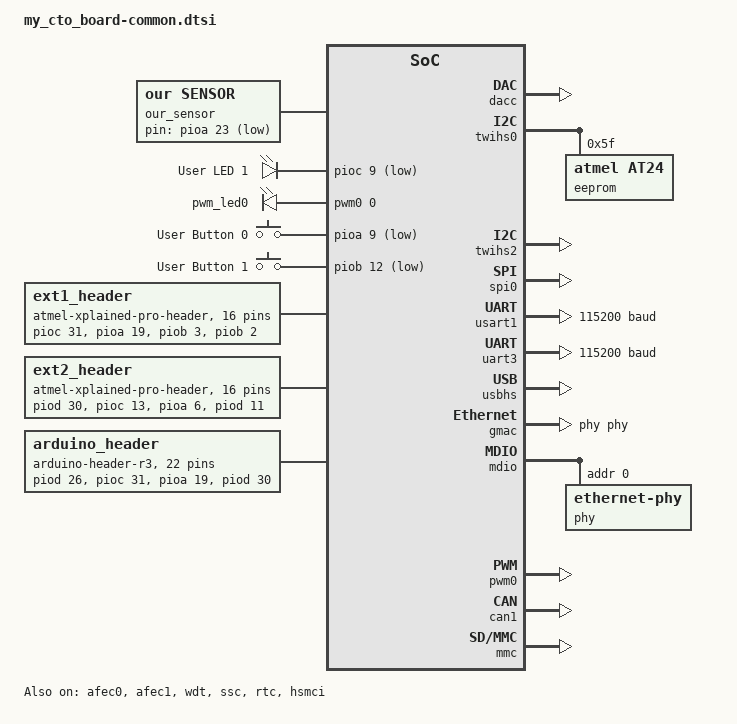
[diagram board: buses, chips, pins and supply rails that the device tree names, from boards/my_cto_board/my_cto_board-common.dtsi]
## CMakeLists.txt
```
cmake_minimum_required(VERSION 3.20.0)

list(APPEND BOARD_ROOT ${CMAKE_CURRENT_SOURCE_DIR})

find_package(Zephyr REQUIRED)
project(my_zephyr_app)
target_sources(app PRIVATE src/main.cpp)
add_subdirectory(drivers/subsys/our_driver)
```

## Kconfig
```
# Quedan replegadas todas las configuraciones de zepyr, mas prolijo
menu "Zephyr system"
source "$(APP_DIR)/drivers/subsys/our_driver/Kconfig"
source "Kconfig.zephyr"    
endmenu
```

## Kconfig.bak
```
source "$(APP_DIR)/drivers/subsys/our_driver/Kconfig"
```

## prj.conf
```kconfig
CONFIG_GPIO=y
CONFIG_OUR_SENSOR=y
CONFIG_SHELL=y
#CONFIG_SHELL_MINIMAL=y
```

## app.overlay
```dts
/{ /* Raiz que luego se agrega al archivo general /build/zephyr/zephyr.dts */
    aliases {
        app-led = &poncholed;
    };
    luces: led {
		compatible = "gpio-leds"; 
		poncholed: green_led {
            gpios = < &gpio0 21 GPIO_ACTIVE_HIGH >;  // LED en poncho
			// gpios = < &gpio0 25 GPIO_ACTIVE_HIGH >;  // LED on board: decimal 25
			label = "SPI_ERR_LED";               
		};
	};
};
	
```

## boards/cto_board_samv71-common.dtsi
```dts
/*
 * Copyright (c) 2017 Piotr Mienkowski
 * Copyright (c) 2017 Justin Watson
 * Copyright (c) 2020 Stephanos Ioannidis <root@stephanos.io>
 * Copyright (c) 2019-2024 Gerson Fernando Budke <nandojve@gmail.com>
 *
 * SPDX-License-Identifier: Apache-2.0
 */

#include "cto_board_samv71-pinctrl.dtsi"
#include <zephyr/dt-bindings/gpio/arduino-header-r3.h>
#include <zephyr/dt-bindings/input/input-event-codes.h>

/ {
	aliases {
		i2c-0 = &twihs0;
		i2c-1 = &twihs2;
		led0 = &yellow_led1;
		pwm-led0 = &pwm_led0;
		pwm-0 = &pwm0;
		rtc = &rtc;
		sw0 = &sw0_user_button;
		sw1 = &sw1_user_button;
		watchdog0 = &wdt;
		sdhc0 = &hsmci;
	};

	chosen {
		zephyr,console = &usart1;
		zephyr,shell-uart = &usart1;
		zephyr,sram = &sram0;
		zephyr,flash = &flash0;
		zephyr,code-partition = &slot0_partition;
		zephyr,canbus = &can1;
	};

	leds {
		compatible = "gpio-leds";

		yellow_led0: led_0 {
			gpios = <&pioa 23 GPIO_ACTIVE_LOW>;
			label = "User LED 0";
			status = "disabled";
		};

		yellow_led1: led_1 {
			gpios = <&pioc 9 GPIO_ACTIVE_LOW>;
			label = "User LED 1";
		};
	};

	pwmleds {
		compatible = "pwm-leds";

		pwm_led0: pwm_led_0 {
			pwms = <&pwm0 0 PWM_MSEC(20) PWM_POLARITY_INVERTED>;
		};
	};

	gpio_keys {
		compatible = "gpio-keys";

		/* The switch is labeled SW300/301 in the schematic, and
		 * labeled SW0 on the board, and labeled ERASE User Button
		 * on docs
		 */
		sw0_user_button: button_1 {
			label = "User Button 0";
			gpios = <&pioa 9 (GPIO_PULL_UP | GPIO_ACTIVE_LOW)>;
			zephyr,code = <INPUT_KEY_0>;
		};

		sw1_user_button: button_2 {
			label = "User Button 1";
			gpios = <&piob 12 (GPIO_PULL_UP | GPIO_ACTIVE_LOW)>;
			zephyr,code = <INPUT_KEY_1>;
		};
	};

	ext1_header: xplained-pro-connector1 {
		compatible = "atmel-xplained-pro-header";
		#gpio-cells = <2>;
		gpio-map-mask = <0xffffffff 0xffffffc0>;
		gpio-map-pass-thru = <0 0x3f>;

		/* dts-format off */
					      /*           Shared */
		gpio-map = <0  0 &pioc 31 0>, /* AFE1 AD6         */
			   <1  0 &pioa 19 0>, /* AFE0 AD8         */
			   <2  0 &piob  3 0>, /* RTS0             */
			   <3  0 &piob  2 0>, /* CTS0             */
			   <4  0 &pioa  0 0>, /* PWMC0_H0         */
			   <5  0 &pioc 30 0>, /* TIOB5            */
			   <6  0 &piod 28 0>, /* WKUP5            */
			   <7  0 &pioa  5 0>, /* GPIO             */
			   <8  0 &pioa  3 0>, /* TWD0        EXT2 */
			   <9  0 &pioa  4 0>, /* TWCK0       EXT2 */
			   <10 0 &piob  0 0>, /* RXD0             */
			   <11 0 &piob  1 0>, /* TXD0             */
			   <12 0 &piod 25 0>, /* SPI0(NPCS1)      */
			   <13 0 &piod 21 0>, /* SPI0(MOSI)  EXT2 */
			   <14 0 &piod 20 0>, /* SPI0(MISO)  EXT2 */
			   <15 0 &piod 22 0>; /* SPI0(SCK)   EXT2 */
					      /* GND              */
					      /* +3.3V            */
		/* dts-format on */
	};

	ext2_header: xplained-pro-connector2 {
		compatible = "atmel-xplained-pro-header";
		#gpio-cells = <2>;
		gpio-map-mask = <0xffffffff 0xffffffc0>;
		gpio-map-pass-thru = <0 0x3f>;

		/* dts-format off */
					      /*           Shared */
		gpio-map = <0  0 &piod 30 0>, /* AFE0 AD0         */
			   <1  0 &pioc 13 0>, /* AFE1 AD1         */
			   <2  0 &pioa  6 0>, /* GPIO             */
			   <3  0 &piod 11 0>, /* GPIO             */
			   <4  0 &pioc 19 0>, /* PWMC0_H2         */
			   <5  0 &piod 26 0>, /* PWMC0_L2         */
			   <6  0 &pioa  2 0>, /* WKUP2            */
			   <7  0 &pioa 24 0>, /* GPIO             */
			   <8  0 &pioa  3 0>, /* TWD0        EXT1 */
			   <9  0 &pioa  4 0>, /* TWCK0       EXT1 */
			   <10 0 &pioa 21 0>, /* RXD1             */
			   <11 0 &piob  4 0>, /* TXD1             */
			   <12 0 &piod 27 0>, /* SPI0(NPCS3)      */
			   <13 0 &piod 21 0>, /* SPI0(MOSI)  EXT1 */
			   <14 0 &piod 20 0>, /* SPI0(MISO)  EXT1 */
			   <15 0 &piod 22 0>; /* SPI0(SCK)   EXT1 */
					      /* GND              */
					      /* +3.3V            */
		/* dts-format on */
	};

	arduino_header: connector {
		compatible = "arduino-header-r3";
		#gpio-cells = <2>;
		gpio-map-mask = <0xffffffff 0xffffffc0>;
		gpio-map-pass-thru = <0 0x3f>;

		/* dts-format off */
								 /*        Shared */
		gpio-map = <ARDUINO_HEADER_R3_A0  0 &piod 26 0>, /* TD            */
			   <ARDUINO_HEADER_R3_A1  0 &pioc 31 0>, /* AFE1 AD6    y */
			   <ARDUINO_HEADER_R3_A2  0 &pioa 19 0>, /* AFE0 AD8    y */
			   <ARDUINO_HEADER_R3_A3  0 &piod 30 0>, /* AFE0 AD0    y */
			   <ARDUINO_HEADER_R3_A4  0 &pioc 13 0>, /* AFE1 AD1    y */
			   <ARDUINO_HEADER_R3_A5  0 &pioe  0 0>, /* AFE1 AD11     */
			   <ARDUINO_HEADER_R3_D0  0 &piod 28 0>, /* URXD3         */
			   <ARDUINO_HEADER_R3_D1  0 &piod 30 0>, /* UTXD3         */
			   <ARDUINO_HEADER_R3_D2  0 &pioa  0 0>, /* PWMC0_H0      */
			   <ARDUINO_HEADER_R3_D3  0 &pioa  6 0>, /* GPIO          */
			   <ARDUINO_HEADER_R3_D4  0 &piod 27 0>, /* SPI0_NPCS3  y */
			   <ARDUINO_HEADER_R3_D5  0 &piod 11 0>, /* PWMC0_H0      */
			   <ARDUINO_HEADER_R3_D6  0 &pioc 19 0>, /* PWMC0_H2      */
			   <ARDUINO_HEADER_R3_D7  0 &pioa  2 0>, /* PWMC0_H1      */
			   <ARDUINO_HEADER_R3_D8  0 &pioa  5 0>, /* PWMC1_PWML3   */
			   <ARDUINO_HEADER_R3_D9  0 &pioc  9 0>, /* TIOB7         */
			   <ARDUINO_HEADER_R3_D10 0 &piod 25 0>, /* SPI0_NPCS1  y */
			   <ARDUINO_HEADER_R3_D11 0 &piod 21 0>, /* SPI0_MOSI   y */
			   <ARDUINO_HEADER_R3_D12 0 &piod 20 0>, /* SPI0_MISO   y */
			   <ARDUINO_HEADER_R3_D13 0 &piod 22 0>, /* SPI0_SPCK   y */
			   <ARDUINO_HEADER_R3_D14 0 &pioa  3 0>, /* TWD0        y */
			   <ARDUINO_HEADER_R3_D15 0 &pioa  4 0>; /* TWCK0       y */
		/* dts-format on */
	};
};

&cpu0 {
	clock-frequency = <300000000>;
};

&afec0 {
	status = "okay";

	pinctrl-0 = <&afec0_default>;
	pinctrl-names = "default";
};

&afec1 {
	status = "okay";

	pinctrl-0 = <&afec1_default>;
	pinctrl-names = "default";
};

&dacc {
	status = "okay";
};

&twihs0 {
	status = "okay";

	pinctrl-0 = <&twihs0_default>;
	pinctrl-names = "default";

	eeprom: eeprom@5f {
		compatible = "atmel,at24", "atmel,24mac402";
		reg = <0x5f>;
		size = <256>;
		pagesize = <16>;
		address-width = <8>;
		timeout = <5>;

		nvmem-layout {
			compatible = "fixed-layout";
			#address-cells = <1>;
			#size-cells = <1>;

			mac_address: mac-address@9a {
				reg = <0x9a 6>;
				#nvmem-cell-cells = <0>;
			};
		};
	};
};

&twihs2 {
	status = "okay";

	pinctrl-0 = <&twihs2_default>;
	pinctrl-names = "default";
};

&spi0 {
	status = "okay";

	pinctrl-0 = <&spi0_default>;
	pinctrl-names = "default";

	cs-gpios = <&piod 25 GPIO_ACTIVE_LOW>,
		   <&piod 27 GPIO_ACTIVE_LOW>;

	dmas = <&xdmac 1 DMA_PERID_SPI0_TX>, <&xdmac 2 DMA_PERID_SPI0_RX>;
	dma-names = "tx", "rx";
};

&usart1 {
	status = "okay";
	current-speed = <115200>;

	pinctrl-0 = <&usart1_default>;
	pinctrl-names = "default";
};

&uart3 {
	status = "okay";
	current-speed = <115200>;

	pinctrl-0 = <&uart3_default>;
	pinctrl-names = "default";
};

&wdt {
	status = "okay";
};

zephyr_udc0: &usbhs {
	status = "okay";
};

&gmac {
	status = "okay";

	pinctrl-0 = <&gmac_rmii>;
	pinctrl-names = "default";

	nvmem-cells = <&mac_address>;
	nvmem-cell-names = "mac-address";
	phy-handle = <&phy>;
};

&mdio {
	status = "okay";

	pinctrl-0 = <&mdio_default>;
	pinctrl-names = "default";

	phy: ethernet-phy@0 {
		compatible = "ethernet-phy";
		status = "okay";
		reg = <0>;
	};
};

&pwm0 {
	status = "okay";

	pinctrl-0 = <&pwm_default>;
	pinctrl-names = "default";
};

&pioa {
	status = "okay";
};

&piob {
	status = "okay";
};

&pioc {
	status = "okay";
};

&piod {
	status = "okay";
};

&pioe {
	status = "okay";
};

&flash0 {
	partitions {
		compatible = "fixed-partitions";
		#address-cells = <1>;
		#size-cells = <1>;

		/*
		 * The first half of sector 0 (64 kbytes)
		 * is reserved for the bootloader
		 */
		boot_partition: partition@0 {
			label = "mcuboot";
			reg = <0x0 0x00010000>;
			read-only;
		};

		/* From sector 1 to sector 7 (included): slot0 (896 kbytes) */
		slot0_partition: partition@20000 {
			label = "image-0";
			reg = <0x00020000 0x000e0000>;
		};

		/* From sector 8 to sector 14 (included): slot1 (896 kbytes) */
		slot1_partition: partition@100000 {
			label = "image-1";
			reg = <0x00100000 0x000e0000>;
		};

		/* Sector 15: scratch (128 kbytes) */
		scratch_partition: partition@1e0000 {
			label = "image-scratch";
			reg = <0x001e0000 0x00020000>;
		};
	};
};

&ssc {
	status = "okay";

	pinctrl-0 = <&ssc_default>;
	pinctrl-names = "default";

	dma-names = "rx", "tx";
	dmas = <&xdmac 22 DMA_PERID_SSC_RX>, <&xdmac 23 DMA_PERID_SSC_TX>;
};

&can1 {
	status = "okay";

	pinctrl-0 = <&can1_default>;
	pinctrl-names = "default";

	can-transceiver {
		max-bitrate = <5000000>;
	};
};

&rtc {
	status = "okay";
};

&hsmci {
	status = "okay";

	pinctrl-names = "default";
	pinctrl-0 = <&hsmci_default>;
	cd-gpios = <&piod 18 GPIO_ACTIVE_LOW>;

	mmc {
		compatible = "zephyr,sdmmc-disk";
		disk-name = "SD";
		status = "okay";
	};
};

ext1_spi: &spi0 {};

ext1_i2c: &twihs0 {};

ext1_serial: &usart0 {};

ext2_spi: &spi0 {};

ext2_i2c: &twihs0 {};

ext2_serial: &usart1 {};

arduino_spi: &spi0 {};

arduino_i2c: &twihs0 {};

arduino_serial: &uart3 {};
```

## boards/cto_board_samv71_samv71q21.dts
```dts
/*
 * Copyright (c) 2017 Piotr Mienkowski
 * Copyright (c) 2017 Justin Watson
 * Copyright (c) 2020-2024 Gerson Fernando Budke <nandojve@gmail.com>
 *
 * SPDX-License-Identifier: Apache-2.0
 */

/dts-v1/;

#include <atmel/samv71x21.dtsi>
#include "cto_board_samv71-common.dtsi"

/ {
	model = "Atmel SAM V71 Xplained Ultra board";
	compatible = "nasa,cto_board_samv71", "atmel,sam_v71_xult", "atmel,samv71q21", "atmel,samv71";
};
```

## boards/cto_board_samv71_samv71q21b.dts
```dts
/*
 * Copyright (c) 2020 Stephanos Ioannidis <root@stephanos.io>
 * Copyright (c) 2020-2024 Gerson Fernando Budke <nandojve@gmail.com>
 *
 * SPDX-License-Identifier: Apache-2.0
 */

/dts-v1/;

#include <atmel/samv71x21b.dtsi>
#include "cto_board_samv71-common.dtsi"

/ {
	model = "Atmel SAM V71B Xplained Ultra board";
	compatible = "nasa,cto_board_samv71", "atmel,sam_v71_xult", "atmel,samv71q21b", "atmel,samv71b";
};
```

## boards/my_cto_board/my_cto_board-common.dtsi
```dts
/*
 * Copyright (c) 2017 Piotr Mienkowski
 * Copyright (c) 2017 Justin Watson
 * Copyright (c) 2020 Stephanos Ioannidis <root@stephanos.io>
 * Copyright (c) 2019-2024 Gerson Fernando Budke <nandojve@gmail.com>
 *
 * SPDX-License-Identifier: Apache-2.0
 */

#include "my_cto_board-pinctrl.dtsi"
#include <zephyr/dt-bindings/gpio/arduino-header-r3.h>
#include <zephyr/dt-bindings/input/input-event-codes.h>

/ {
	aliases {
		i2c-0 = &twihs0;
		i2c-1 = &twihs2;
		led0 = &yellow_led1;
		pwm-led0 = &pwm_led0;
		pwm-0 = &pwm0;
		rtc = &rtc;
		sw0 = &sw0_user_button;
		sw1 = &sw1_user_button;
		watchdog0 = &wdt;
		sdhc0 = &hsmci;
	};

	chosen {
		zephyr,console = &usart1;
		zephyr,shell-uart = &usart1;
		zephyr,sram = &sram0;
		zephyr,flash = &flash0;
		zephyr,code-partition = &slot0_partition;
		zephyr,canbus = &can1;
	};

	our_sensor: our_sensor {
		compatible="our,sensor";
		pin-gpios = <&pioa 23 GPIO_ACTIVE_LOW>;
		status = "okay";
	};

	leds {
		compatible = "gpio-leds";

		yellow_led0: led_0 {
			gpios = <&pioa 23 GPIO_ACTIVE_LOW>;
			label = "User LED 0";
			status = "disabled";
		};

		yellow_led1: led_1 {
			gpios = <&pioc 9 GPIO_ACTIVE_LOW>;
			label = "User LED 1";
		};
	};

	pwmleds {
		compatible = "pwm-leds";

		pwm_led0: pwm_led_0 {
			pwms = <&pwm0 0 PWM_MSEC(20) PWM_POLARITY_INVERTED>;
		};
	};

	gpio_keys {
		compatible = "gpio-keys";

		/* The switch is labeled SW300/301 in the schematic, and
		 * labeled SW0 on the board, and labeled ERASE User Button
		 * on docs
		 */
		sw0_user_button: button_1 {
			label = "User Button 0";
			gpios = <&pioa 9 (GPIO_PULL_UP | GPIO_ACTIVE_LOW)>;
			zephyr,code = <INPUT_KEY_0>;
		};

		sw1_user_button: button_2 {
			label = "User Button 1";
			gpios = <&piob 12 (GPIO_PULL_UP | GPIO_ACTIVE_LOW)>;
			zephyr,code = <INPUT_KEY_1>;
		};
	};

	ext1_header: xplained-pro-connector1 {
		compatible = "atmel-xplained-pro-header";
		#gpio-cells = <2>;
		gpio-map-mask = <0xffffffff 0xffffffc0>;
		gpio-map-pass-thru = <0 0x3f>;

		/* dts-format off */
					      /*           Shared */
		gpio-map = <0  0 &pioc 31 0>, /* AFE1 AD6         */
			   <1  0 &pioa 19 0>, /* AFE0 AD8         */
			   <2  0 &piob  3 0>, /* RTS0             */
			   <3  0 &piob  2 0>, /* CTS0             */
			   <4  0 &pioa  0 0>, /* PWMC0_H0         */
			   <5  0 &pioc 30 0>, /* TIOB5            */
			   <6  0 &piod 28 0>, /* WKUP5            */
			   <7  0 &pioa  5 0>, /* GPIO             */
			   <8  0 &pioa  3 0>, /* TWD0        EXT2 */
			   <9  0 &pioa  4 0>, /* TWCK0       EXT2 */
			   <10 0 &piob  0 0>, /* RXD0             */
			   <11 0 &piob  1 0>, /* TXD0             */
			   <12 0 &piod 25 0>, /* SPI0(NPCS1)      */
			   <13 0 &piod 21 0>, /* SPI0(MOSI)  EXT2 */
			   <14 0 &piod 20 0>, /* SPI0(MISO)  EXT2 */
			   <15 0 &piod 22 0>; /* SPI0(SCK)   EXT2 */
					      /* GND              */
					      /* +3.3V            */
		/* dts-format on */
	};

	ext2_header: xplained-pro-connector2 {
		compatible = "atmel-xplained-pro-header";
		#gpio-cells = <2>;
		gpio-map-mask = <0xffffffff 0xffffffc0>;
		gpio-map-pass-thru = <0 0x3f>;

		/* dts-format off */
					      /*           Shared */
		gpio-map = <0  0 &piod 30 0>, /* AFE0 AD0         */
			   <1  0 &pioc 13 0>, /* AFE1 AD1         */
			   <2  0 &pioa  6 0>, /* GPIO             */
			   <3  0 &piod 11 0>, /* GPIO             */
			   <4  0 &pioc 19 0>, /* PWMC0_H2         */
			   <5  0 &piod 26 0>, /* PWMC0_L2         */
			   <6  0 &pioa  2 0>, /* WKUP2            */
			   <7  0 &pioa 24 0>, /* GPIO             */
			   <8  0 &pioa  3 0>, /* TWD0        EXT1 */
			   <9  0 &pioa  4 0>, /* TWCK0       EXT1 */
			   <10 0 &pioa 21 0>, /* RXD1             */
			   <11 0 &piob  4 0>, /* TXD1             */
			   <12 0 &piod 27 0>, /* SPI0(NPCS3)      */
			   <13 0 &piod 21 0>, /* SPI0(MOSI)  EXT1 */
			   <14 0 &piod 20 0>, /* SPI0(MISO)  EXT1 */
			   <15 0 &piod 22 0>; /* SPI0(SCK)   EXT1 */
					      /* GND              */
					      /* +3.3V            */
		/* dts-format on */
	};

	arduino_header: connector {
		compatible = "arduino-header-r3";
		#gpio-cells = <2>;
		gpio-map-mask = <0xffffffff 0xffffffc0>;
		gpio-map-pass-thru = <0 0x3f>;

		/* dts-format off */
								 /*        Shared */
		gpio-map = <ARDUINO_HEADER_R3_A0  0 &piod 26 0>, /* TD            */
			   <ARDUINO_HEADER_R3_A1  0 &pioc 31 0>, /* AFE1 AD6    y */
			   <ARDUINO_HEADER_R3_A2  0 &pioa 19 0>, /* AFE0 AD8    y */
			   <ARDUINO_HEADER_R3_A3  0 &piod 30 0>, /* AFE0 AD0    y */
			   <ARDUINO_HEADER_R3_A4  0 &pioc 13 0>, /* AFE1 AD1    y */
			   <ARDUINO_HEADER_R3_A5  0 &pioe  0 0>, /* AFE1 AD11     */
			   <ARDUINO_HEADER_R3_D0  0 &piod 28 0>, /* URXD3         */
			   <ARDUINO_HEADER_R3_D1  0 &piod 30 0>, /* UTXD3         */
			   <ARDUINO_HEADER_R3_D2  0 &pioa  0 0>, /* PWMC0_H0      */
			   <ARDUINO_HEADER_R3_D3  0 &pioa  6 0>, /* GPIO          */
			   <ARDUINO_HEADER_R3_D4  0 &piod 27 0>, /* SPI0_NPCS3  y */
			   <ARDUINO_HEADER_R3_D5  0 &piod 11 0>, /* PWMC0_H0      */
			   <ARDUINO_HEADER_R3_D6  0 &pioc 19 0>, /* PWMC0_H2      */
			   <ARDUINO_HEADER_R3_D7  0 &pioa  2 0>, /* PWMC0_H1      */
			   <ARDUINO_HEADER_R3_D8  0 &pioa  5 0>, /* PWMC1_PWML3   */
			   <ARDUINO_HEADER_R3_D9  0 &pioc  9 0>, /* TIOB7         */
			   <ARDUINO_HEADER_R3_D10 0 &piod 25 0>, /* SPI0_NPCS1  y */
			   <ARDUINO_HEADER_R3_D11 0 &piod 21 0>, /* SPI0_MOSI   y */
			   <ARDUINO_HEADER_R3_D12 0 &piod 20 0>, /* SPI0_MISO   y */
			   <ARDUINO_HEADER_R3_D13 0 &piod 22 0>, /* SPI0_SPCK   y */
			   <ARDUINO_HEADER_R3_D14 0 &pioa  3 0>, /* TWD0        y */
			   <ARDUINO_HEADER_R3_D15 0 &pioa  4 0>; /* TWCK0       y */
		/* dts-format on */
	};
};

&cpu0 {
	clock-frequency = <300000000>;
};

&afec0 {
	status = "okay";

	pinctrl-0 = <&afec0_default>;
	pinctrl-names = "default";
};

&afec1 {
	status = "okay";

	pinctrl-0 = <&afec1_default>;
	pinctrl-names = "default";
};

&dacc {
	status = "okay";
};

&twihs0 {
	status = "okay";

	pinctrl-0 = <&twihs0_default>;
	pinctrl-names = "default";

	eeprom: eeprom@5f {
		compatible = "atmel,at24", "atmel,24mac402";
		reg = <0x5f>;
		size = <256>;
		pagesize = <16>;
		address-width = <8>;
		timeout = <5>;

		nvmem-layout {
			compatible = "fixed-layout";
			#address-cells = <1>;
			#size-cells = <1>;

			mac_address: mac-address@9a {
				reg = <0x9a 6>;
				#nvmem-cell-cells = <0>;
			};
		};
	};
};

&twihs2 {
	status = "okay";

	pinctrl-0 = <&twihs2_default>;
	pinctrl-names = "default";
};

&spi0 {
	status = "okay";

	pinctrl-0 = <&spi0_default>;
	pinctrl-names = "default";

	cs-gpios = <&piod 25 GPIO_ACTIVE_LOW>,
		   <&piod 27 GPIO_ACTIVE_LOW>;

	dmas = <&xdmac 1 DMA_PERID_SPI0_TX>, <&xdmac 2 DMA_PERID_SPI0_RX>;
	dma-names = "tx", "rx";
};

&usart1 {
	status = "okay";
	current-speed = <115200>;

	pinctrl-0 = <&usart1_default>;
	pinctrl-names = "default";
};

&uart3 {
	status = "okay";
	current-speed = <115200>;

	pinctrl-0 = <&uart3_default>;
	pinctrl-names = "default";
};

&wdt {
	status = "okay";
};

zephyr_udc0: &usbhs {
	status = "okay";
};

&gmac {
	status = "okay";

	pinctrl-0 = <&gmac_rmii>;
	pinctrl-names = "default";

	nvmem-cells = <&mac_address>;
	nvmem-cell-names = "mac-address";
	phy-handle = <&phy>;
};

&mdio {
	status = "okay";

	pinctrl-0 = <&mdio_default>;
	pinctrl-names = "default";

	phy: ethernet-phy@0 {
		compatible = "ethernet-phy";
		status = "okay";
		reg = <0>;
	};
};

&pwm0 {
	status = "okay";

	pinctrl-0 = <&pwm_default>;
	pinctrl-names = "default";
};

&pioa {
	status = "okay";
};

&piob {
	status = "okay";
};

&pioc {
	status = "okay";
};

&piod {
	status = "okay";
};

&pioe {
	status = "okay";
};

&flash0 {
	partitions {
		compatible = "fixed-partitions";
		#address-cells = <1>;
		#size-cells = <1>;

		/*
		 * The first half of sector 0 (64 kbytes)
		 * is reserved for the bootloader
		 */
		boot_partition: partition@0 {
			label = "mcuboot";
			reg = <0x0 0x00010000>;
			read-only;
		};

		/* From sector 1 to sector 7 (included): slot0 (896 kbytes) */
		slot0_partition: partition@20000 {
			label = "image-0";
			reg = <0x00020000 0x000e0000>;
		};

		/* From sector 8 to sector 14 (included): slot1 (896 kbytes) */
		slot1_partition: partition@100000 {
			label = "image-1";
			reg = <0x00100000 0x000e0000>;
		};

		/* Sector 15: scratch (128 kbytes) */
		scratch_partition: partition@1e0000 {
			label = "image-scratch";
			reg = <0x001e0000 0x00020000>;
		};
	};
};

&ssc {
	status = "okay";

	pinctrl-0 = <&ssc_default>;
	pinctrl-names = "default";

	dma-names = "rx", "tx";
	dmas = <&xdmac 22 DMA_PERID_SSC_RX>, <&xdmac 23 DMA_PERID_SSC_TX>;
};

&can1 {
	status = "okay";

	pinctrl-0 = <&can1_default>;
	pinctrl-names = "default";

	can-transceiver {
		max-bitrate = <5000000>;
	};
};

&rtc {
	status = "okay";
};

&hsmci {
	status = "okay";

	pinctrl-names = "default";
	pinctrl-0 = <&hsmci_default>;
	cd-gpios = <&piod 18 GPIO_ACTIVE_LOW>;

	mmc {
		compatible = "zephyr,sdmmc-disk";
		disk-name = "SD";
		status = "okay";
	};
};

ext1_spi: &spi0 {};

ext1_i2c: &twihs0 {};

ext1_serial: &usart0 {};

ext2_spi: &spi0 {};

ext2_i2c: &twihs0 {};

ext2_serial: &usart1 {};

arduino_spi: &spi0 {};

arduino_i2c: &twihs0 {};

arduino_serial: &uart3 {};
```

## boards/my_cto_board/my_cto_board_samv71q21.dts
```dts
/*
 * Copyright (c) 2017 Piotr Mienkowski
 * Copyright (c) 2017 Justin Watson
 * Copyright (c) 2020-2024 Gerson Fernando Budke <nandojve@gmail.com>
 *
 * SPDX-License-Identifier: Apache-2.0
 */

/dts-v1/;

#include <atmel/samv71x21.dtsi>
#include "my_cto_board-common.dtsi"

/ {
	model = "Atmel SAM V71 Xplained Ultra board";
	compatible = "nasa,my_cto_board", "atmel,sam_v71_xult", "atmel,samv71q21", "atmel,samv71";
};
```

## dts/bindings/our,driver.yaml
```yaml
description: Our super driver

#compatible: "zephyr,our-driver"
compatible: "our,driver"

include: base.yaml

properties:
  pin-gpios:
    type: phandle-array
    required: true
    description: pin connected
```

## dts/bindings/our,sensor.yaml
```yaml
description: Our super driver extension

#compatible: "zephyr,our-driver"
compatible: "our,sensor"

include: base.yaml

properties:
  pin-gpios:
    type: phandle-array
    required: true
    description: pin connected
```

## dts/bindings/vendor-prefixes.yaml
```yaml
our:
  description: Our
```

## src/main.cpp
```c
/*
 * l7-task2: se usa shell para habilitar/desabilitar el sample_fetch (toggle led)
 * con la api our_sensor (que extiende a api sensor oficial de zephyr). Se validan
 * argumentos del sub-comando blink para que solo se ingresen los valores y cantidades
 * correctas.
 * SENSOR
 * 		|_INFO
 * 		|_BLINK -> (ON/OFF) (50-1000)
 */

#include <zephyr/kernel.h>
#include <zephyr/device.h>
#include <zephyr/drivers/sensor.h>
#include <our_sensor.h>
#include <stdio.h>
#include <zephyr/shell/shell.h>

/* Variable global para compartir con el thread del shell y del main */
static int sleep_time_ms = 500;

//En el .dtsi está el nodo our,sensor y en C es our_sensor.
const struct device *dev = DEVICE_DT_GET_ANY(our_sensor); 

/* COMANDO RAIZ */
static int cmd_sensor(const struct shell *sh, size_t argc, char **argv) {
	ARG_UNUSED(argc);
	ARG_UNUSED(argv);
	shell_print(sh, "Hello from shell");
	return 0;
}

static int blink_subcmd(const struct shell *sh, size_t argc, char **argv) {
	ARG_UNUSED(argc);

	bool enable;
	int value = atoi(argv[2]);
	// Validamos argumentos: argv[0]: blink (fijo); argv[1]: on/off (variable);
	// argv[2]: ms
	if (value < 50 || value > 1000) {
		shell_error(sh, "Range: 50-1000 ms");
		return -EINVAL;
	}
	
	if(!strcmp(argv[1], "on")) {
		enable = true;
	}
	else if(!strcmp(argv[1], "off")) {
		enable = false;
	}
	else {
		shell_error(sh, "Invalid argument, use on/off");
		return -EINVAL;
	}
	
	sleep_time_ms = value;
	our_sensor_set_blink(dev, enable); 	
	shell_fprintf(sh, SHELL_INFO, "Blink: %s\n", enable ? "ON" : "OFF");
	return 0;
}

static int info_subcmd(const struct shell *sh, size_t argc, char **argv) {
	ARG_UNUSED(argc);
	ARG_UNUSED(argv);
	bool status = device_is_ready(dev);
	shell_fprintf(sh, SHELL_INFO, "Board: %s\n", CONFIG_BOARD_TARGET);
	shell_fprintf(sh, SHELL_INFO, "Device: %s\n", dev->name);
	shell_fprintf(sh, SHELL_INFO, "state: %s\n", status ? "Ready" : "Not ready");
	return 0;
}

int main(void)
{
	if (!device_is_ready(dev)) {
		return 0;
	}

	while (1) {
		sensor_sample_fetch(dev);
		k_msleep(sleep_time_ms);
	}
	return 0;
}

SHELL_STATIC_SUBCMD_SET_CREATE(
	sub_commands,
	SHELL_CMD(info, NULL, "Print board, device name and ready state", info_subcmd),
	SHELL_CMD_ARG(blink, NULL, "Enable/disable blink", blink_subcmd, 3, 0),
	SHELL_SUBCMD_SET_END
);

SHELL_CMD_REGISTER(sensor, &sub_commands, "Sensor root shell", cmd_sensor);
```
